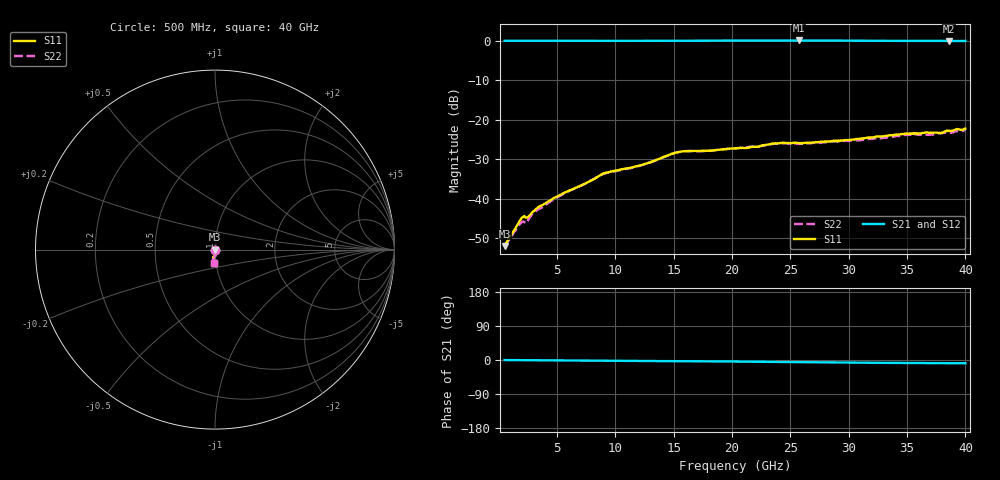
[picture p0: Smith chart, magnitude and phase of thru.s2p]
!Keysight Technologies,N5247B,MY61255062,A.15.50.07
!Date: Thursday, February 13, 2025 10:38:38
!Correction: S11(C  2-Port  )
!S21(C  2-Port  )
!S12(C  2-Port  )
!S22(C  2-Port  )
!S2P File: Measurements: S11, S21, S12, S22:
# Hz S  MA  R 50
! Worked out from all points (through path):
!   396 points, 500 MHz to 40 GHz, reference 50 ohm
!   highest |S21| = 0.08 dB at 25.7 GHz (marker M1); lowest = -0.1 dB at 38.6 GHz (marker M2)
!   group delay of S21, straight-line fit = 629 fs
!   lowest |S11| = -51.9 dB at 500 MHz (marker M3), VSWR 1.01, Z = 49.8 - j0.119 ohm
!   |S11| at or under -10 dB: start of sweep to end of sweep
!   |S22| runs from -51.9 to -22.6 dB; largest |S21 - S12| = 0.00069
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5e8  0.002545 -152.0  1 -0.1  1 -0.1  0.002527 -27.4
1.8e9  0.005269 -120.9  0.9999 -0.4  1 -0.4  0.004837 -65.5
2e9  0.005792 -123.1  0.9996 -0.5  0.9996 -0.5  0.00509 -70.6
2.2e9  0.006087 -124.0  0.9992 -0.5  0.9992 -0.5  0.005073 -76.3
2.3e9  0.005818 -124.5  0.9993 -0.5  0.9993 -0.5  0.004899 -74.2
2.8e9  0.006581 -114.6  0.9996 -0.6  0.9998 -0.6  0.006255 -72.1
3.4e9  0.007887 -111.4  0.9995 -0.8  0.9996 -0.8  0.007455 -76.8
5.5e9  0.01176 -102.6  0.9994 -1.3  0.9994 -1.3  0.01151 -80.0
7.1e9  0.01482 -97.0  0.9983 -1.7  0.9982 -1.7  0.01478 -80.1
9e9  0.0211 -94.8  0.9961 -2.0  0.9961 -2.0  0.02077 -83.0
1.21e10  0.02645 -94.8  0.9968 -2.6  0.9968 -2.6  0.0263 -86.0
1.37e10  0.032 -92.3  0.9949 -2.8  0.995 -2.8  0.03167 -85.0
1.56e10  0.03955 -98.6  0.9975 -2.9  0.9975 -2.9  0.03977 -93.0
2.03e10  0.04352 -102.1  1.005 -4.1  1.005 -4.1  0.04372 -99.5
2.35e10  0.05022 -100.7  1.007 -4.9  1.007 -5.0  0.04955 -100.6
2.57e10  0.05107 -102.5  1.009 -5.7  1.009 -5.7  0.05015 -102.6
2.69e10  0.05167 -102.1  1.008 -6.0  1.008 -6.0  0.0508 -102.7
3.35e10  0.06398 -95.6  0.9973 -7.6  0.9975 -7.6  0.06024 -97.4
3.5e10  0.06738 -96.2  0.9966 -7.8  0.9966 -7.9  0.06584 -97.1
3.79e10  0.06786 -93.8  0.9938 -8.4  0.9939 -8.4  0.06728 -96.5
3.86e10  0.07316 -92.8  0.9927 -8.5  0.9929 -8.5  0.06891 -96.6
4e10  0.07739 -92.8  0.9944 -8.7  0.9946 -8.7  0.07436 -95.6
